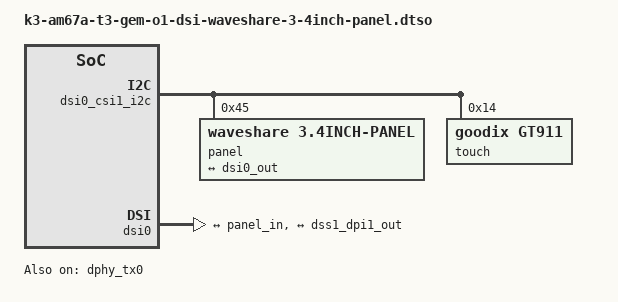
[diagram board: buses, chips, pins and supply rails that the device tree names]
// SPDX-License-Identifier: GPL-2.0
/**
 * DT Overlay for Waveshare 3.4inch touchscreen panel interfaced with DSI
 *
 * Waveshare DSI Panel: https://www.waveshare.com/product/3.4inch-dsi-lcd-c.htm
 *
 * Copyright (C) 2025 T3 Foundation - https://www.t3vakfi.org/
 */

/dts-v1/;
/plugin/;

#include <dt-bindings/gpio/gpio.h>
#include <dt-bindings/interrupt-controller/irq.h>

/*
 * Helper to show loaded overlays under: /proc/device-tree/chosen/overlays/
 */
&{/chosen} {
	overlays {
		k3-am67a-t3-gem-o1-dsi-waveshare-3-4inch-panel.kernel = __TIMESTAMP__;
	};
};

&{/} {
	mipi_switch: mipi-switch {
		oe-pin {
			default-state = "off";
		};

		sel-pin {
			default-state = "off";
		};
	};

};

&dphy_tx0 {
	status = "okay";
};

&dsi0_csi1_i2c {
	#address-cells = <1>;
	#size-cells = <0>;

	panel: panel_disp1@45 {
		reg = <0x45>;
		compatible = "waveshare,3.4inch-panel";

		port {
			panel_in: endpoint {
				remote-endpoint = <&dsi0_out>;
			};
		};
	};

	touch: goodix@14 {
		reg = <0x14>;
		compatible = "goodix,gt911";

		touchscreen-size-x = < 800 >;
		touchscreen-size-y = < 800 >;
	};
};

&dsi0 {
	status = "okay";
	#address-cells = <1>;
	#size-cells = <0>;

	ports {
		#address-cells = <1>;
		#size-cells = <0>;

		port@0 {
			reg = <0>;
			dsi0_out: endpoint {
				remote-endpoint = <&panel_in>;
			};
		};

		port@1 {
			reg = <1>;
			dsi0_in: endpoint {
				remote-endpoint = <&dss1_dpi1_out>;
			};
		};
	};

};

&dss1_ports {
	#address-cells = <1>;
	#size-cells = <0>;

	/* DSS1-VP2: DSI Output */
	port@1 {
		reg = <1>;
		dss1_dpi1_out: endpoint {
			remote-endpoint = <&dsi0_in>;
		};
	};
};
